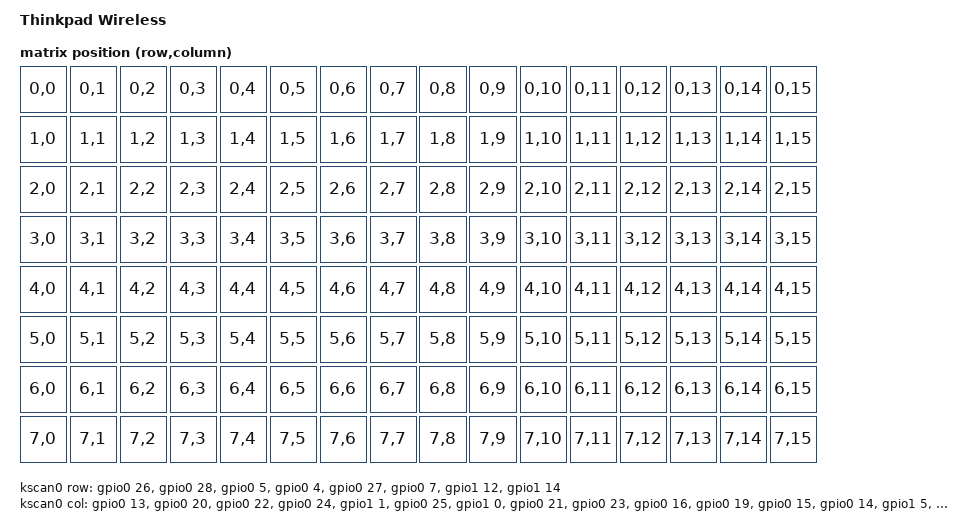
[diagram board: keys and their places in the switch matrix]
/*
 * Copyright (c) 2024 The ZMK Contributors
 * SPDX-License-Identifier: MIT
 */

/dts-v1/;
#include <nordic/nrf52840_qiaa.dtsi>
#include <dt-bindings/zmk/hid_indicators.h>

/ {
    model = "Thinkpad Wireless";
    compatible = "thinkpad,wireless";

    
    indicators {
        compatible = "zmk,indicator-leds";
        caps_lock_indicator: caps_lock_indicator {
            indicator = <HID_INDICATOR_CAPS_LOCK>;
            leds = <&caps_lock_led>;
        };
    };

    chosen {
        zephyr,sram = &sram0;
        zephyr,flash = &flash0;
        zephyr,code-partition = &slot0_partition;
        zmk,kscan = &kscan0;
        zmk,matrix-transform = &default_transform;
        zmk,battery = &vbatt;
    };

    default_transform: keymap_transform_0 {
        compatible = "zmk,matrix-transform";
        columns = <16>;
        rows = <8>;
        map = <
            RC(0,0) RC(0,1) RC(0,2) RC(0,3) RC(0,4) RC(0,5) RC(0,6) RC(0,7) RC(0,8) RC(0,9) RC(0,10) RC(0,11) RC(0,12) RC(0,13) RC(0,14) RC(0,15)
            RC(1,0) RC(1,1) RC(1,2) RC(1,3) RC(1,4) RC(1,5) RC(1,6) RC(1,7) RC(1,8) RC(1,9) RC(1,10) RC(1,11) RC(1,12) RC(1,13) RC(1,14) RC(1,15)
            RC(2,0) RC(2,1) RC(2,2) RC(2,3) RC(2,4) RC(2,5) RC(2,6) RC(2,7) RC(2,8) RC(2,9) RC(2,10) RC(2,11) RC(2,12) RC(2,13) RC(2,14) RC(2,15)
            RC(3,0) RC(3,1) RC(3,2) RC(3,3) RC(3,4) RC(3,5) RC(3,6) RC(3,7) RC(3,8) RC(3,9) RC(3,10) RC(3,11) RC(3,12) RC(3,13) RC(3,14) RC(3,15)
            RC(4,0) RC(4,1) RC(4,2) RC(4,3) RC(4,4) RC(4,5) RC(4,6) RC(4,7) RC(4,8) RC(4,9) RC(4,10) RC(4,11) RC(4,12) RC(4,13) RC(4,14) RC(4,15)
            RC(5,0) RC(5,1) RC(5,2) RC(5,3) RC(5,4) RC(5,5) RC(5,6) RC(5,7) RC(5,8) RC(5,9) RC(5,10) RC(5,11) RC(5,12) RC(5,13) RC(5,14) RC(5,15)
            RC(6,0) RC(6,1) RC(6,2) RC(6,3) RC(6,4) RC(6,5) RC(6,6) RC(6,7) RC(6,8) RC(6,9) RC(6,10) RC(6,11) RC(6,12) RC(6,13) RC(6,14) RC(6,15)
            RC(7,0) RC(7,1) RC(7,2) RC(7,3) RC(7,4) RC(7,5) RC(7,6) RC(7,7) RC(7,8) RC(7,9) RC(7,10) RC(7,11) RC(7,12) RC(7,13) RC(7,14) RC(7,15)
        >;
    };

    kscan0: kscan_0 {
        compatible = "zmk,kscan-gpio-matrix";
        diode-direction = "col2row";

        row-gpios
            = <&gpio0 26 (GPIO_ACTIVE_HIGH | GPIO_PULL_DOWN)> /* SENSE0 G1 -> P0.26 */
            , <&gpio0 28 (GPIO_ACTIVE_HIGH | GPIO_PULL_DOWN)> /* SENSE1 B11 -> P0.28 */
            , <&gpio0 5  (GPIO_ACTIVE_HIGH | GPIO_PULL_DOWN)> /* SENSE2 K2 -> P0.05 */
            , <&gpio0 4  (GPIO_ACTIVE_HIGH | GPIO_PULL_DOWN)> /* SENSE3 J1 -> P0.04 */
            , <&gpio0 27 (GPIO_ACTIVE_HIGH | GPIO_PULL_DOWN)> /* SENSE4 H2 -> P0.27 */
            , <&gpio0 7  (GPIO_ACTIVE_HIGH | GPIO_PULL_DOWN)> /* SENSE5 M2 -> P0.07 */
            , <&gpio1 12 (GPIO_ACTIVE_HIGH | GPIO_PULL_DOWN)> /* SENSE6 B17 -> P1.12 */
            , <&gpio1 14 (GPIO_ACTIVE_HIGH | GPIO_PULL_DOWN)> /* SENSE7 B15 -> P1.14 */
            ;

        col-gpios
            = <&gpio0 13 GPIO_ACTIVE_HIGH> /* DRV0 AD8 -> P0.13 */
            , <&gpio0 20 GPIO_ACTIVE_HIGH> /* DRV1 AD16 -> P0.20 */
            , <&gpio0 22 GPIO_ACTIVE_HIGH> /* DRV2 AD18 -> P0.22 */
            , <&gpio0 24 GPIO_ACTIVE_HIGH> /* DRV3 AD20 -> P0.24 */
            , <&gpio1 1  GPIO_ACTIVE_HIGH> /* DRV4 Y23 -> P1.01 */
            , <&gpio0 25 GPIO_ACTIVE_HIGH> /* DRV5 AC21 -> P0.25 */
            , <&gpio1 0  GPIO_ACTIVE_HIGH> /* DRV6 AD22 -> P1.00 */
            , <&gpio0 21 GPIO_ACTIVE_HIGH> /* DRV7 AC17 -> P0.21 */
            , <&gpio0 23 GPIO_ACTIVE_HIGH> /* DRV8 AC19 -> P0.23 */
            , <&gpio0 16 GPIO_ACTIVE_HIGH> /* DRV9 AC11 -> P0.16 */
            , <&gpio0 19 GPIO_ACTIVE_HIGH> /* DRV10 AC15 -> P0.19 */
            , <&gpio0 15 GPIO_ACTIVE_HIGH> /* DRV11 AD10 -> P0.15 */
            , <&gpio0 14 GPIO_ACTIVE_HIGH> /* DRV12 AC9 -> P0.14 */
            , <&gpio1 5  GPIO_ACTIVE_HIGH> /* DRV13 T23 -> P1.05 */
            , <&gpio0 17 GPIO_ACTIVE_HIGH> /* DRV14 AD12 -> P0.17 */
            , <&gpio1 3  GPIO_ACTIVE_HIGH> /* DRV15 V23 -> P1.03 */
            ;
    };

    vbatt: vbatt {
        compatible = "zmk,battery-voltage-divider";
        io-channels = <&adc 0>; /* A12 -> AIN0 (Channel 0) */
        output-ohms = <100000>;
        full-ohms = <200000>; /* 50% voltage divider (R20/R21 are 10M/10M or 100R/100R) */
    };

    leds {
        compatible = "gpio-leds";
        caps_lock_led: caps_lock_led {
            gpios = <&gpio0 31 GPIO_ACTIVE_LOW>; /* A8 -> P0.31 */
            label = "Caps Lock LED";
        };
        power_led: power_led {
            gpios = <&gpio0 29 GPIO_ACTIVE_LOW>; /* A10 -> P0.29 */
            label = "Power LED";
        };
        mute_led: mute_led {
            gpios = <&gpio1 15 GPIO_ACTIVE_LOW>; /* A14 -> P1.15 */
            label = "Mute LED";
        };
        mic_mute_led: mic_mute_led {
            gpios = <&gpio1 7 GPIO_ACTIVE_LOW>; /* P23 -> P1.07 */
            label = "Mic Mute LED";
        };
        bt_led: bt_led {
            gpios = <&gpio1 2 GPIO_ACTIVE_LOW>; /* W24 -> P1.02 */
            label = "Bluetooth LED";
        };
        bat_led_r: bat_led_r {
            gpios = <&gpio1 6 GPIO_ACTIVE_LOW>; /* R24 -> P1.06 */
            label = "Battery Red LED";
        };
        bat_led_g: bat_led_g {
            gpios = <&gpio1 4 GPIO_ACTIVE_LOW>; /* U24 -> P1.04 */
            label = "Battery Green LED";
        };
    };

    ext_power: ext_power {
        compatible = "zmk,ext-power-generic";
        label = "EXT_POWER";
        control-gpios = <&gpio0 12 GPIO_ACTIVE_HIGH>; /* 5V_EN -> P0.12 */
        init-delay-ms = <50>;
    };
};

&flash0 {
    partitions {
        compatible = "fixed-partitions";
        #address-cells = <1>;
        #size-cells = <1>;

        sd_partition: partition@0 {
            label = "softdevice";
            reg = <0x00000000 0x00026000>;
        };
        code_partition: partition@26000 {
            label = "code_partition";
            reg = <0x00026000 0x000c6000>;
        };
        storage_partition: partition@ec000 {
            label = "storage";
            reg = <0x000ec000 0x00008000>;
        };
        boot_partition: partition@f4000 {
            label = "adafruit_boot";
            reg = <0x000f4000 0x0000c000>;
        };
    };
};

&gpio0 {
    status = "okay";
};

&gpio1 {
    status = "okay";
};
